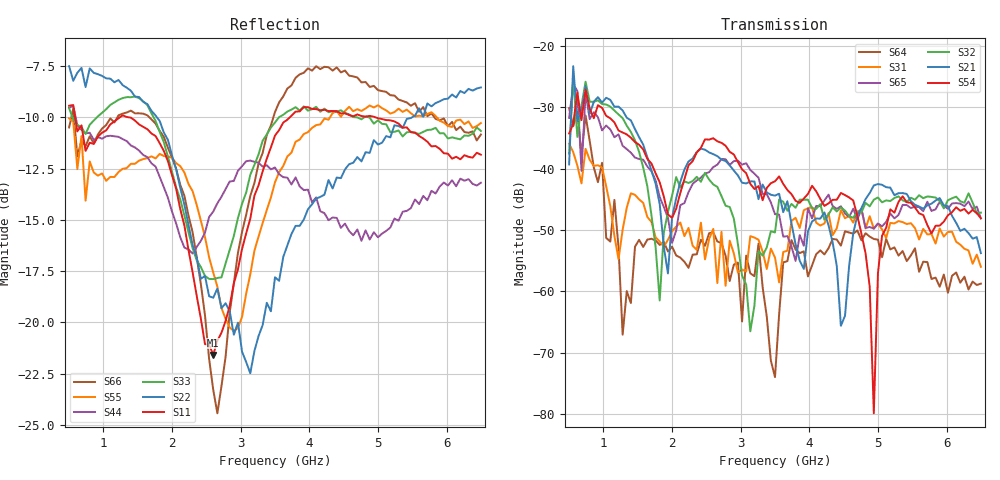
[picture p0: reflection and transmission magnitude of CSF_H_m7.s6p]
!Keysight Technologies,M9804A,MY58100912,A.14.10.03
!Date: Thursday, April 27, 2023 10:28:33
!Correction: S11(C  6-Port  )
!S12(C  6-Port  )
!S13(C  6-Port  )
!S14(C  6-Port  )
!S15(C  6-Port  )
!S16(C  6-Port  )
!S21(C  6-Port  )
!S22(C  6-Port  )
!S23(C  6-Port  )
!S24(C  6-Port  )
!S25(C  6-Port  )
!S26(C  6-Port  )
!S31(C  6-Port  )
!S32(C  6-Port  )
!S33(C  6-Port  )
!S34(C  6-Port  )
!S35(C  6-Port  )
!S36(C  6-Port  )
!S41(C  6-Port  )
!S42(C  6-Port  )
!S43(C  6-Port  )
!S44(C  6-Port  )
!S45(C  6-Port  )
!S46(C  6-Port  )
!S51(C  6-Port  )
!S52(C  6-Port  )
!S53(C  6-Port  )
!S54(C  6-Port  )
!S55(C  6-Port  )
!S56(C  6-Port  )
!S61(C  6-Port  )
!S62(C  6-Port  )
!S63(C  6-Port  )
!S64(C  6-Port  )
!S65(C  6-Port  )
!S66(C  6-Port  )
!S6P File: Measurement: :
# Hz S  RI  R 50
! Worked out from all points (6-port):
!   101 points, 500 MHz to 6.5 GHz, reference 50 ohm
!   strongest paths, dB at 500 MHz, 2 GHz, 3.5 GHz, 5 GHz, 6.5 GHz:
!     S54: -34.3, -48.0, -42.0, -57.0, -48.1
!     S21: -39.3, -48.0, -44.4, -42.5, -53.8
!     S32: -37.5, -44.4, -50.4, -44.7, -47.2
!     S65: -31.7, -52.1, -47.4, -48.9, -48.1
!     S31: -35.9, -50.2, -54.5, -48.9, -56.0
!     S64: -30.1, -52.7, -74.0, -51.6, -58.7
!   lowest |S11| = -21.6 dB at 2.6 GHz (marker M1), VSWR 1.18, Z = 42.6 + j2.01 ohm
!   |S11| at or under -10 dB: 588.4 MHz to 1.236 GHz (647.1 MHz wide, 71 % of centre); 1.388 GHz to 3.714 GHz (2.326 GHz wide, 91.2 % of centre); 4.971 GHz to end of sweep
